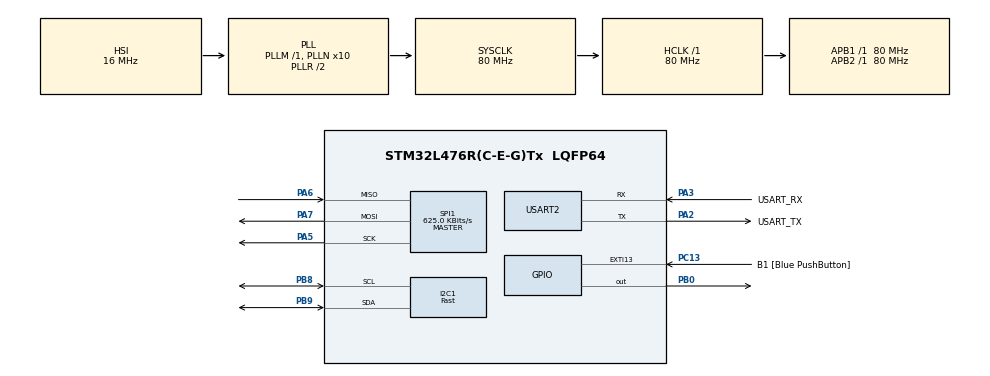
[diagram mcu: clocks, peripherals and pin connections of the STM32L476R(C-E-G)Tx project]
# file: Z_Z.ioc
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FATFS._MAX_SS=4096
FATFS._USE_LFN=1
I2C1.I2C_Speed_Mode=I2C_Fast
I2C1.Timing=0x00702991
Mcu.Family=STM32L4
Mcu.Name=STM32L476R(C-E-G)Tx
Mcu.Package=LQFP64
NVIC.PriorityGroup=NVIC_PRIORITYGROUP_4
PA13\ (JTMS-SWDIO).GPIO_Label=TMS
PA13\ (JTMS-SWDIO).Mode=Serial_Wire
PA13\ (JTMS-SWDIO).Signal=SYS_JTMS-SWDIO
PA14\ (JTCK-SWCLK).GPIO_Label=TCK
PA14\ (JTCK-SWCLK).Mode=Serial_Wire
PA14\ (JTCK-SWCLK).Signal=SYS_JTCK-SWCLK
PA2.GPIO_Label=USART_TX
PA2.GPIO_Mode=GPIO_MODE_AF_PP
PA2.GPIO_PuPd=GPIO_NOPULL
PA2.GPIO_Speed=GPIO_SPEED_FREQ_VERY_HIGH
PA2.Mode=Asynchronous
PA2.Signal=USART2_TX
PA3.GPIO_Label=USART_RX
PA3.GPIO_Mode=GPIO_MODE_AF_PP
PA3.GPIO_PuPd=GPIO_NOPULL
PA3.GPIO_Speed=GPIO_SPEED_FREQ_VERY_HIGH
PA3.Mode=Asynchronous
PA3.Signal=USART2_RX
PA5.Mode=Full_Duplex_Master
PA5.Signal=SPI1_SCK
PA6.Mode=Full_Duplex_Master
PA6.Signal=SPI1_MISO
PA7.Mode=Full_Duplex_Master
PA7.Signal=SPI1_MOSI
PB0.Signal=GPIO_Output
PB3\ (JTDO-TRACESWO).GPIO_Label=SWO
PB3\ (JTDO-TRACESWO).Signal=SYS_JTDO-SWO
PB8.Mode=I2C
PB8.Signal=I2C1_SCL
PB9.Mode=I2C
PB9.Signal=I2C1_SDA
PC13.GPIO_Label=B1 [Blue PushButton]
PC13.GPIO_ModeDefaultEXTI=GPIO_MODE_IT_FALLING
PC13.GPIO_PuPd=GPIO_NOPULL
PC13.Signal=GPXTI13
PC14-OSC32_IN\ (PC14).Signal=RCC_OSC32_IN
PC15-OSC32_OUT\ (PC15).Signal=RCC_OSC32_OUT
PH0-OSC_IN\ (PH0).Mode=HSE-External-Oscillator
PH0-OSC_IN\ (PH0).Signal=RCC_OSC_IN
PH1-OSC_OUT\ (PH1).Mode=HSE-External-Oscillator
PH1-OSC_OUT\ (PH1).Signal=RCC_OSC_OUT
ProjectManager.HeapSize=0x200
ProjectManager.StackSize=0x400
ProjectManager.TargetToolchain=STM32CubeIDE
RCC.ADCFreq_Value=64000000
RCC.AHBFreq_Value=80000000
RCC.APB1Freq_Value=80000000
RCC.APB1TimFreq_Value=80000000
RCC.APB2Freq_Value=80000000
RCC.APB2TimFreq_Value=80000000
RCC.CortexFreq_Value=80000000
RCC.HCLKFreq_Value=80000000
RCC.HSE_VALUE=8000000
RCC.HSI_VALUE=16000000
RCC.MSI_VALUE=4000000
RCC.PLLN=10
RCC.PLLSourceVirtual=RCC_PLLSOURCE_HSI
RCC.PREFETCH_ENABLE=1
RCC.SYSCLKFreq_VALUE=80000000
RCC.SYSCLKSource=RCC_SYSCLKSOURCE_PLLCLK
RCC.USBFreq_Value=64000000
RCC.VCOOutputFreq_Value=160000000
SPI1.BaudRatePrescaler=SPI_BAUDRATEPRESCALER_128
SPI1.CalculateBaudRate=625.0 KBits/s
SPI1.DataSize=SPI_DATASIZE_8BIT
SPI1.Direction=SPI_DIRECTION_2LINES
SPI1.Mode=SPI_MODE_MASTER
SPI1.VirtualType=VM_MASTER
USART2.VirtualMode-Asynchronous=VM_ASYNC
VP_FATFS_VS_Generic.Mode=User_defined
board=NUCLEO-L476RG

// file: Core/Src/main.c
/* USER CODE BEGIN Header */
/**
  ******************************************************************************
  * @file           : main.c
  * @brief          : Main program body
  ******************************************************************************
  * @attention
  *
  * Copyright (c) 2022 STMicroelectronics.
  * All rights reserved.
  *
  * This software is licensed under terms that can be found in the LICENSE file
  * in the root directory of this software component.
  * If no LICENSE file comes with this software, it is provided AS-IS.
  *
  ******************************************************************************
  */
/* USER CODE END Header */
#include "main.h"
#include "fatfs.h"

/* USER CODE BEGIN Includes */
#include "fatfs_sd.h"
#include "string.h"
/* USER CODE END Includes */

I2C_HandleTypeDef hi2c1;

SPI_HandleTypeDef hspi1;

UART_HandleTypeDef huart2;

/* USER CODE BEGIN PV */
uint8_t HT221_read= 0xBF;
uint8_t HT221_write= 0xBE;
uint8_t ctrl_reg1= 0x20;
uint8_t tempout_lo= 0x2A;
uint8_t tempout_hi= 0x2B;
uint8_t whoami= 0x0F;
uint8_t data= 0xFF;
uint8_t sensor_on[2] = { 0x20 , 0x81 };
uint8_t temp_lo;
uint8_t temp_hi;
uint16_t temp;

char msg[100];
/* USER CODE END PV */

void SystemClock_Config(void);
static void MX_GPIO_Init(void);
static void MX_USART2_UART_Init(void);
static void MX_I2C1_Init(void);
static void MX_SPI1_Init(void);

/* USER CODE BEGIN 0 */
FATFS fs;
FIL fil;
FRESULT fresult;
char buffer[2024];

UINT br, bw;

FATFS *pfs;
DWORD fre_clust;
uint32_t total, free_space;

void send_uart(char * string)
{
	uint8_t len = strlen (string);
	HAL_UART_Transmit(&huart2, (uint8_t *) string, len, 2000);
}
int bufsize(char *buf)
{
	int i=0;
	while(*buf++ != '\0') i++;
	return i;
}
void clear_buffer (void)
{
	for (int i = 0; i < 1024; i++){
		buffer [i] = '\0';
	}
}

/* USER CODE END 0 */

int main(void)
{

  /* MCU Configuration--------------------------------------------------------*/

  /* Reset of all peripherals, Initializes the Flash interface and the Systick. */
  HAL_Init();

  /* Configure the system clock */
  SystemClock_Config();

  /* Initialize all configured peripherals */
  MX_GPIO_Init();
  MX_USART2_UART_Init();
  MX_I2C1_Init();
  MX_SPI1_Init();
  MX_FATFS_Init();
  /* USER CODE BEGIN 2 */
  HAL_I2C_Master_Transmit(&hi2c1, HT221_write, &sensor_on, 2, 1000);
 	  HAL_I2C_Master_Receive(&hi2c1, HT221_read, &data, 1, 1000);
 	  HAL_Delay(1000);
 	  sprintf(msg, "%d", data);
 	  HAL_UART_Transmit(&huart2, &msg, strlen(msg), 1000);

 	 HAL_I2C_Master_Transmit(&hi2c1, HT221_write, &sensor_on, 2, 1000);
 		  HAL_I2C_Master_Receive(&hi2c1, HT221_read, &data, 1, 1000);
 		  HAL_Delay(1000);
 		  sprintf(msg, "%d", data);
 		  HAL_UART_Transmit(&huart2, &msg, strlen(msg), 1000);

  /* USER CODE END 2 */

  /* Infinite loop */
  /* USER CODE BEGIN WHILE */
  while (1)
  {

	  HAL_Delay (5500);
	  fresult = f_mount(&fs, "/", 1);
	  	if (fresult != FR_OK) send_uart ("ERROR!!! in mounting SD CARD...\n\n");
	  	else send_uart("SD CARD mounted successfully...\n\n");

	  HAL_I2C_Master_Transmit(&hi2c1, HT221_write, &tempout_lo, 1, 1000);
	  HAL_I2C_Master_Receive(&hi2c1, HT221_read, &temp_lo, 1, 1000);

	  HAL_I2C_Master_Transmit(&hi2c1, HT221_write, &tempout_hi, 1, 1000);
	  HAL_I2C_Master_Receive(&hi2c1, HT221_read, &temp_hi, 1, 1000);

	  HAL_Delay(1000);
	  sprintf(msg, "%d \n\r", temp_hi);
	  //HAL_UART_Transmit(&huart2, &msg, strlen(msg), 1000);
	  sprintf(msg, "%d \n\r", temp_lo);
	  //HAL_UART_Transmit(&huart2, &msg, strlen(msg), 1000);

	  temp = (temp_hi*256+temp_lo);
	  temp = 20+temp/100;
	  sprintf(msg, "%d \n\r", temp);
	 // HAL_UART_Transmit(&huart2, &msg, strlen(msg), 1000);

  	/* Open the file with write access */
 	fresult = f_open(&fil, "temp.txt", FA_OPEN_EXISTING | FA_READ | FA_WRITE);

 	/* Move to offset to the end of the file */
 	fresult = f_lseek(&fil, f_size(&fil));

   	/* write the string to the file */
   	fresult = f_puts("The temperature is: ", &fil);
   	//fresult = f_lseek(&fil, f_size(&fil));
   	fresult = f_puts(&msg, &fil);
   	fresult = f_lseek(&fil, f_size(&fil));
   	fresult = f_puts("\n", &fil);
   	f_close (&fil);

   	clear_buffer();

   	/* Open to read the file */
   	fresult = f_open (&fil, "temp.txt", FA_READ);

   	/* Read string from the file */
   	fresult = f_read (&fil, buffer, f_size(&fil), &br);
   	//if (fresult == FR_OK)send_uart ("Below is the data from updated file2.txt\n");
   	send_uart(buffer);
   	send_uart("\n\n");

   	/* Close file */
   	f_close(&fil);

   	clear_buffer();

    /* USER CODE END WHILE */

  }
}

void SystemClock_Config(void)
{
  RCC_OscInitTypeDef RCC_OscInitStruct = {0};
  RCC_ClkInitTypeDef RCC_ClkInitStruct = {0};

  /** Configure the main internal regulator output voltage
  */
  if (HAL_PWREx_ControlVoltageScaling(PWR_REGULATOR_VOLTAGE_SCALE1) != HAL_OK)
  {
    Error_Handler();
  }
  /** Initializes the RCC Oscillators according to the specified parameters
  * in the RCC_OscInitTypeDef structure.
  */
  RCC_OscInitStruct.OscillatorType = RCC_OSCILLATORTYPE_HSI;
  RCC_OscInitStruct.HSIState = RCC_HSI_ON;
  RCC_OscInitStruct.HSICalibrationValue = RCC_HSICALIBRATION_DEFAULT;
  RCC_OscInitStruct.PLL.PLLState = RCC_PLL_ON;
  RCC_OscInitStruct.PLL.PLLSource = RCC_PLLSOURCE_HSI;
  RCC_OscInitStruct.PLL.PLLM = 1;
  RCC_OscInitStruct.PLL.PLLN = 10;
  RCC_OscInitStruct.PLL.PLLP = RCC_PLLP_DIV7;
  RCC_OscInitStruct.PLL.PLLQ = RCC_PLLQ_DIV2;
  RCC_OscInitStruct.PLL.PLLR = RCC_PLLR_DIV2;
  if (HAL_RCC_OscConfig(&RCC_OscInitStruct) != HAL_OK)
  {
    Error_Handler();
  }
  /** Initializes the CPU, AHB and APB buses clocks
  */
  RCC_ClkInitStruct.ClockType = RCC_CLOCKTYPE_HCLK|RCC_CLOCKTYPE_SYSCLK
                              |RCC_CLOCKTYPE_PCLK1|RCC_CLOCKTYPE_PCLK2;
  RCC_ClkInitStruct.SYSCLKSource = RCC_SYSCLKSOURCE_PLLCLK;
  RCC_ClkInitStruct.AHBCLKDivider = RCC_SYSCLK_DIV1;
  RCC_ClkInitStruct.APB1CLKDivider = RCC_HCLK_DIV1;
  RCC_ClkInitStruct.APB2CLKDivider = RCC_HCLK_DIV1;

  if (HAL_RCC_ClockConfig(&RCC_ClkInitStruct, FLASH_LATENCY_4) != HAL_OK)
  {
    Error_Handler();
  }
}

static void MX_I2C1_Init(void)
{

  hi2c1.Instance = I2C1;
  hi2c1.Init.Timing = 0x00702991;
  hi2c1.Init.OwnAddress1 = 0;
  hi2c1.Init.AddressingMode = I2C_ADDRESSINGMODE_7BIT;
  hi2c1.Init.DualAddressMode = I2C_DUALADDRESS_DISABLE;
  hi2c1.Init.OwnAddress2 = 0;
  hi2c1.Init.OwnAddress2Masks = I2C_OA2_NOMASK;
  hi2c1.Init.GeneralCallMode = I2C_GENERALCALL_DISABLE;
  hi2c1.Init.NoStretchMode = I2C_NOSTRETCH_DISABLE;
  if (HAL_I2C_Init(&hi2c1) != HAL_OK)
  {
    Error_Handler();
  }
  /** Configure Analogue filter
  */
  if (HAL_I2CEx_ConfigAnalogFilter(&hi2c1, I2C_ANALOGFILTER_ENABLE) != HAL_OK)
  {
    Error_Handler();
  }
  /** Configure Digital filter
  */
  if (HAL_I2CEx_ConfigDigitalFilter(&hi2c1, 0) != HAL_OK)
  {
    Error_Handler();
  }

}

static void MX_SPI1_Init(void)
{

  /* SPI1 parameter configuration*/
  hspi1.Instance = SPI1;
  hspi1.Init.Mode = SPI_MODE_MASTER;
  hspi1.Init.Direction = SPI_DIRECTION_2LINES;
  hspi1.Init.DataSize = SPI_DATASIZE_8BIT;
  hspi1.Init.CLKPolarity = SPI_POLARITY_LOW;
  hspi1.Init.CLKPhase = SPI_PHASE_1EDGE;
  hspi1.Init.NSS = SPI_NSS_SOFT;
  hspi1.Init.BaudRatePrescaler = SPI_BAUDRATEPRESCALER_128;
  hspi1.Init.FirstBit = SPI_FIRSTBIT_MSB;
  hspi1.Init.TIMode = SPI_TIMODE_DISABLE;
  hspi1.Init.CRCCalculation = SPI_CRCCALCULATION_DISABLE;
  hspi1.Init.CRCPolynomial = 7;
  hspi1.Init.CRCLength = SPI_CRC_LENGTH_DATASIZE;
  hspi1.Init.NSSPMode = SPI_NSS_PULSE_ENABLE;
  if (HAL_SPI_Init(&hspi1) != HAL_OK)
  {
    Error_Handler();
  }

}

static void MX_USART2_UART_Init(void)
{

  huart2.Instance = USART2;
  huart2.Init.BaudRate = 115200;
  huart2.Init.WordLength = UART_WORDLENGTH_8B;
  huart2.Init.StopBits = UART_STOPBITS_1;
  huart2.Init.Parity = UART_PARITY_NONE;
  huart2.Init.Mode = UART_MODE_TX_RX;
  huart2.Init.HwFlowCtl = UART_HWCONTROL_NONE;
  huart2.Init.OverSampling = UART_OVERSAMPLING_16;
  huart2.Init.OneBitSampling = UART_ONE_BIT_SAMPLE_DISABLE;
  huart2.AdvancedInit.AdvFeatureInit = UART_ADVFEATURE_NO_INIT;
  if (HAL_UART_Init(&huart2) != HAL_OK)
  {
    Error_Handler();
  }

}

static void MX_GPIO_Init(void)
{
  GPIO_InitTypeDef GPIO_InitStruct = {0};

  /* GPIO Ports Clock Enable */
  __HAL_RCC_GPIOC_CLK_ENABLE();
  __HAL_RCC_GPIOH_CLK_ENABLE();
  __HAL_RCC_GPIOA_CLK_ENABLE();
  __HAL_RCC_GPIOB_CLK_ENABLE();

  /*Configure GPIO pin Output Level */
  HAL_GPIO_WritePin(GPIOB, GPIO_PIN_0, GPIO_PIN_RESET);

  /*Configure GPIO pin : B1_Pin */
  GPIO_InitStruct.Pin = B1_Pin;
  GPIO_InitStruct.Mode = GPIO_MODE_IT_FALLING;
  GPIO_InitStruct.Pull = GPIO_NOPULL;
  HAL_GPIO_Init(B1_GPIO_Port, &GPIO_InitStruct);

  /*Configure GPIO pin : PB0 */
  GPIO_InitStruct.Pin = GPIO_PIN_0;
  GPIO_InitStruct.Mode = GPIO_MODE_OUTPUT_PP;
  GPIO_InitStruct.Pull = GPIO_NOPULL;
  GPIO_InitStruct.Speed = GPIO_SPEED_FREQ_LOW;
  HAL_GPIO_Init(GPIOB, &GPIO_InitStruct);

}

void Error_Handler(void)
{
  __disable_irq();
  while (1)
  {
  }
}
